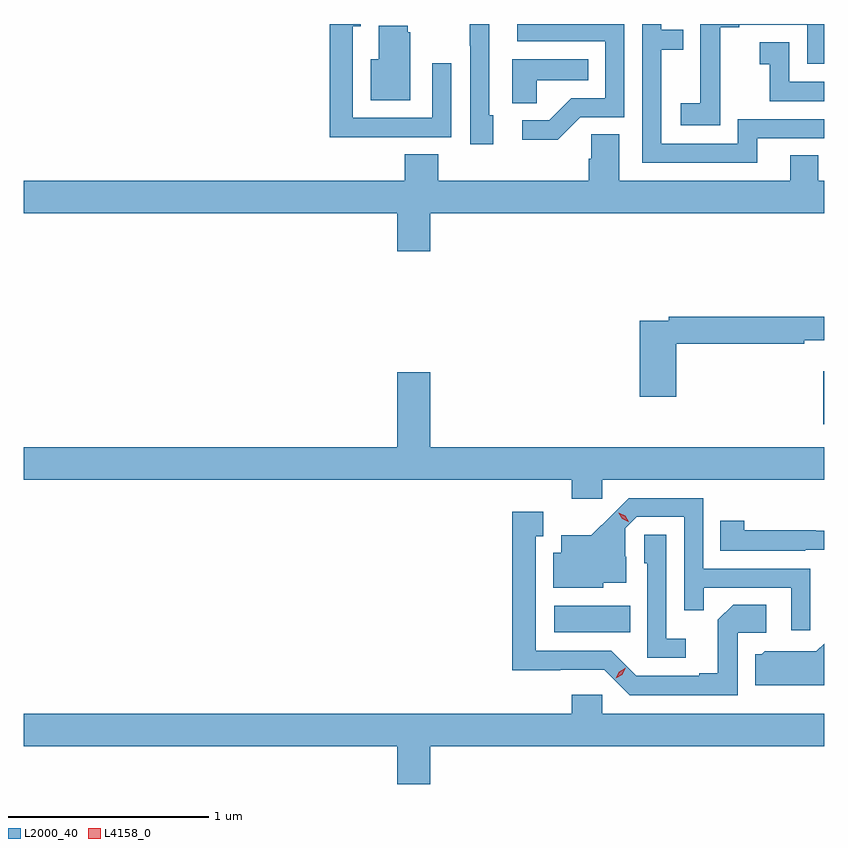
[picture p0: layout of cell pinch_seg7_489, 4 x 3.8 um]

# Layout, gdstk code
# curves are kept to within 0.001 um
import gdstk
lib = gdstk.Library(unit=1e-6, precision=1e-09)
def R(c, l, rs):  # rectangles x0, y0, x1, y1
    for r in rs: c.add(gdstk.rectangle(r[:2], r[2:], *l))
def P(c, l, *ps):  # polygons
    for p in ps: c.add(gdstk.Polygon(p, *l))
L2000_40 = (2000, 40)
L4158_0 = (4158, 0)

pinch_seg7_489 = lib.new_cell('pinch_seg7_489')
R(pinch_seg7_489, L2000_40, [(165.792,1078.442,166.172,1078.576), (167.138,1079.483,167.142,1079.746)])
P(pinch_seg7_489, L2000_40, [(166.807,1080.912),(167.142,1080.912),(167.142,1081.008),(166.71,1081.008),(166.71,1080.885),(166.329,1080.885),(166.329,1081.354),(166.439,1081.354),(166.439,1081.455),(166.329,1081.455),(166.329,1081.483),(166.233,1081.483),(166.233,1080.789),(166.807,1080.789)],
  [(165.487,1081.026),(165.468,1081.026),(165.468,1081.483),(165.37,1081.483),(165.37,1081.375),(165.372,1081.375),(165.372,1080.882),(165.487,1080.882)],
  [(164.963,1080.918),(165.279,1080.918),(165.279,1081.288),(165.183,1081.288),(165.183,1081.014),(164.787,1081.014),(164.787,1081.471),(164.827,1081.471),(164.827,1081.483),(164.671,1081.483),(164.671,1080.917),(164.963,1080.917)],
  [(165.924,1081.017),(166.143,1081.017),(166.143,1081.483),(165.609,1081.483),(165.609,1081.398),(166.047,1081.398),(166.047,1081.113),(165.878,1081.113),(165.767,1081.002),(165.633,1081.002),(165.633,1080.905),(165.811,1080.905)],
  [(166.623,1081.183),(166.622,1081.183),(166.622,1081.467),(166.717,1081.467),(166.717,1081.479),(167.058,1081.479),(167.058,1081.284),(167.142,1081.284),(167.142,1081.483),(166.524,1081.483),(166.524,1081.316),(166.523,1081.316),(166.523,1081.087),(166.425,1081.087),(166.425,1080.977),(166.623,1080.977)],
  [(165.073,1081.443),(165.062,1081.443),(165.062,1081.474),(164.915,1081.474),(164.915,1081.306),(164.876,1081.306),(164.876,1081.103),(165.073,1081.103)],
  [(167.142,1081.194),(166.968,1081.194),(166.968,1081.393),(166.821,1081.393),(166.821,1081.283),(166.87,1081.283),(166.87,1081.098),(167.142,1081.098)],
  [(165.705,1081.202),(165.962,1081.202),(165.962,1081.306),(165.584,1081.306),(165.584,1081.087),(165.705,1081.087)],
  [(165.172,1080.536),(167.142,1080.536),(167.142,1080.7),(167.112,1080.7),(167.112,1080.827),(166.973,1080.827),(166.973,1080.7),(166.117,1080.7),(166.117,1080.932),(165.978,1080.932),(165.978,1080.809),(165.965,1080.809),(165.965,1080.7),(165.212,1080.7),(165.212,1080.833),(165.047,1080.833),(165.047,1080.7),(163.142,1080.7),(163.142,1080.536),(165.008,1080.536),(165.008,1080.348),(165.172,1080.348)],
  [(166.403,1079.884),(167.042,1079.884),(167.042,1079.903),(167.142,1079.903),(167.142,1080.02),(166.366,1080.02),(166.366,1080),(166.22,1080),(166.22,1079.619),(166.403,1079.619)],
  [(165.008,1079.743),(165.008,1079.368),(163.142,1079.368),(163.142,1079.204),(165.881,1079.204),(165.881,1079.109),(166.032,1079.109),(166.032,1079.204),(167.142,1079.204),(167.142,1079.368),(165.172,1079.368),(165.172,1079.743)],
  [(167.073,1078.761),(166.539,1078.761),(166.539,1079.112),(166.166,1079.112),(165.979,1078.927),(165.827,1078.927),(165.827,1078.84),(165.788,1078.84),(165.788,1078.664),(166.038,1078.664),(166.038,1078.691),(166.153,1078.691),(166.153,1078.82),(166.149,1078.82),(166.149,1078.962),(166.206,1079.019),(166.443,1079.019),(166.443,1078.552),(166.541,1078.552),(166.541,1078.665),(166.977,1078.665),(166.977,1078.452),(167.073,1078.452)],
  [(166.71,1078.44),(166.852,1078.44),(166.852,1078.58),(166.687,1078.58),(166.611,1078.504),(166.611,1078.237),(166.517,1078.237),(166.517,1078.224),(166.203,1078.224),(166.077,1078.35),(165.7,1078.35),(165.7,1078.923),(165.739,1078.923),(165.739,1079.044),(165.582,1079.044),(165.582,1078.253),(166.044,1078.254),(166.17,1078.128),(166.71,1078.128)],
  [(167.048,1078.854),(167.142,1078.854),(167.142,1078.951),(167.099,1078.951),(167.099,1078.952),(166.743,1078.952),(166.743,1078.999),(166.624,1078.999),(166.624,1078.851),(167.048,1078.851)],
  [(166.45,1078.411),(166.353,1078.411),(166.353,1078.931),(166.242,1078.931),(166.242,1078.788),(166.257,1078.788),(166.257,1078.314),(166.45,1078.314)],
  [(167.142,1078.386),(167.103,1078.347),(166.98,1078.347),(166.98,1078.348),(166.846,1078.348),(166.83,1078.332),(166.799,1078.332),(166.799,1078.178),(167.142,1078.178)],
  [(165.172,1077.872),(167.142,1077.872),(167.142,1078.036),(166.032,1078.036),(166.032,1078.129),(165.881,1078.129),(165.881,1078.036),(163.142,1078.036),(163.142,1077.872),(165.008,1077.872),(165.008,1077.684),(165.172,1077.684)])
P(pinch_seg7_489, L4158_0, [(166.164,1078.994),(166.134,1079.009),(166.116,1079.038),(166.116,1079.039),(166.116,1079.039),(166.147,1079.024),(166.165,1078.994),(166.165,1078.994)],
  [(166.1,1078.212),(166.1,1078.213),(166.118,1078.245),(166.15,1078.264),(166.15,1078.264),(166.15,1078.264),(166.132,1078.231),(166.101,1078.212)])

lib.write_gds('pinch_seg7_489.gds')
